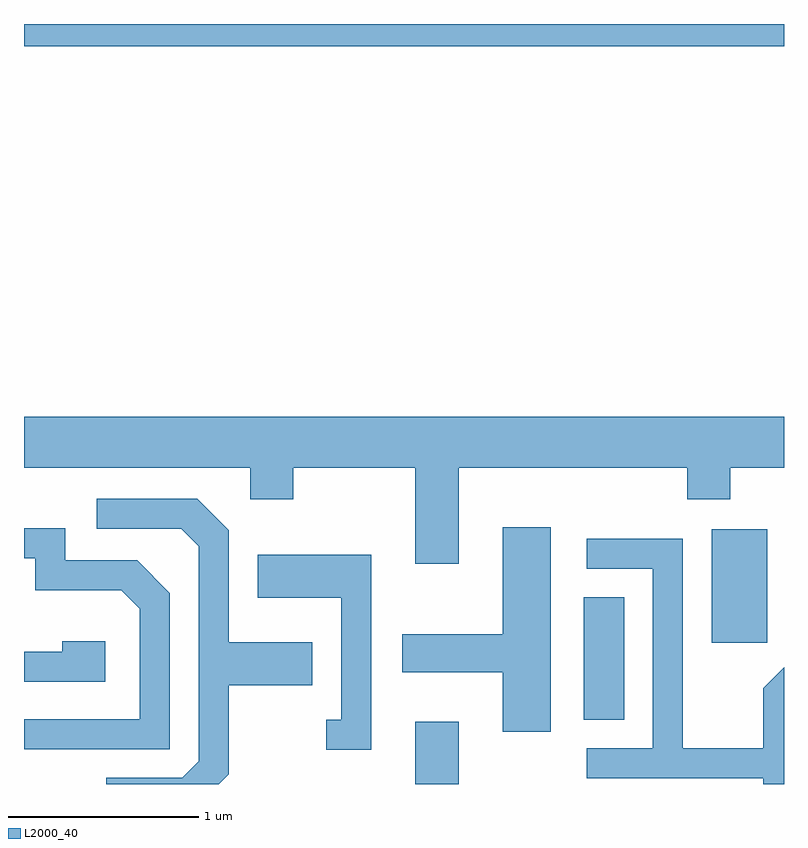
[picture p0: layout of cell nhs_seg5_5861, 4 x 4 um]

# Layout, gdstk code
import gdstk
lib = gdstk.Library(unit=1e-6, precision=1e-09)
def R(c, l, rs):  # rectangles x0, y0, x1, y1
    for r in rs: c.add(gdstk.rectangle(r[:2], r[2:], *l))
def P(c, l, *ps):  # polygons
    for p in ps: c.add(gdstk.Polygon(p, *l))
L2000_40 = (2000, 40)

nhs_seg5_5861 = lib.new_cell('nhs_seg5_5861')
R(nhs_seg5_5861, L2000_40, [(361.671,1404.072,361.899,1404.399), (362.556,1404.411,362.769,1405.054), (363.231,1404.816,363.524,1405.414), (359.611,1407.956,363.611,1408.072)])
P(nhs_seg5_5861, L2000_40, [(361.899,1405.736),(363.101,1405.736),(363.101,1405.571),(363.329,1405.571),(363.329,1405.736),(363.611,1405.736),(363.611,1406.004),(359.611,1406.004),(359.611,1405.736),(360.801,1405.736),(360.801,1405.571),(361.029,1405.571),(361.029,1405.736),(361.671,1405.736),(361.671,1405.231),(361.899,1405.231)],
  [(360.689,1404.124),(360.689,1404.591),(361.129,1404.591),(361.129,1404.819),(360.689,1404.819),(360.689,1405.407),(360.522,1405.574),(359.993,1405.574),(359.993,1405.416),(360.439,1405.416),(360.531,1405.324),(360.531,1404.192),(360.444,1404.104),(360.043,1404.104),(360.043,1404.072),(360.637,1404.072)],
  [(362.384,1405.424),(362.131,1405.424),(362.131,1404.859),(361.601,1404.859),(361.601,1404.661),(362.131,1404.661),(362.131,1404.346),(362.384,1404.346)],
  [(360.379,1405.077),(360.207,1405.249),(359.829,1405.249),(359.829,1405.419),(359.611,1405.419),(359.611,1405.261),(359.671,1405.261),(359.671,1405.091),(360.124,1405.091),(360.221,1404.994),(360.221,1404.414),(359.611,1404.414),(359.611,1404.256),(360.379,1404.256)],
  [(363.611,1404.687),(363.501,1404.577),(363.501,1404.259),(363.079,1404.259),(363.079,1405.364),(362.573,1405.364),(362.573,1405.206),(362.921,1405.206),(362.921,1404.259),(362.573,1404.259),(362.573,1404.101),(363.501,1404.101),(363.501,1404.072),(363.611,1404.072)],
  [(361.439,1405.279),(360.841,1405.279),(360.841,1405.051),(361.281,1405.051),(361.281,1404.409),(361.203,1404.409),(361.203,1404.251),(361.439,1404.251)],
  [(360.039,1404.824),(359.811,1404.824),(359.811,1404.769),(359.611,1404.769),(359.611,1404.611),(360.039,1404.611)])

lib.write_gds('nhs_seg5_5861.gds')
